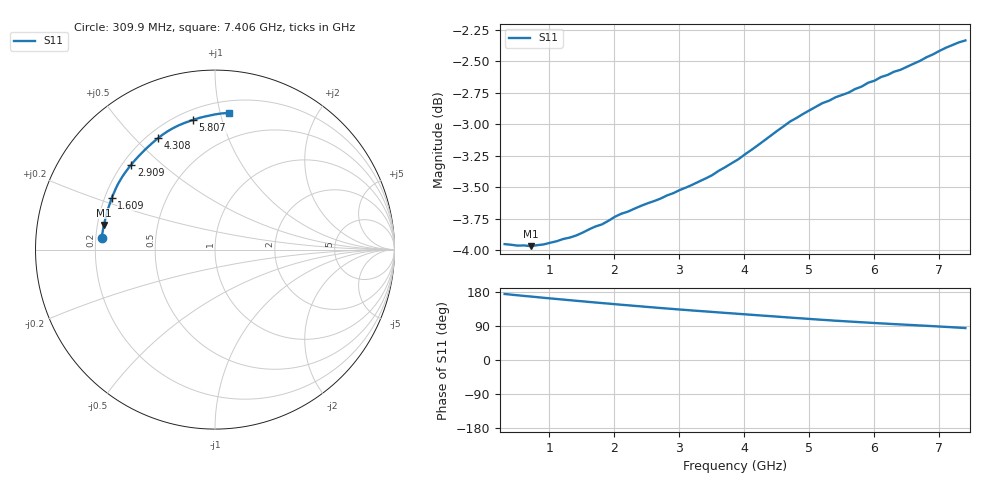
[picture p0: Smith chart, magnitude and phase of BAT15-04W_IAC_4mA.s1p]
! Infineon Technologies  Discrete & RF Semiconductors
! BAT15-04W-E6327
! IAC = 4 mA
! One-Port S-Parameters
# Hz  S  MA  R  50
!f  S11
!Hz  Mag  Ang
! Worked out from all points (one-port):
!   72 points, 309.9 MHz to 7.406 GHz, reference 50 ohm
!   lowest |S11| = -4.0 dB at 709.6 MHz (marker M1), VSWR 4.46, Z = 11.3 + j5.2 ohm
!   |S11| at or under -10 dB: nowhere
!   S11 on the Smith chart (normalised r, x): 309.9 MHz: 0.22, +0.05; 1.609 GHz: 0.23, +0.23; 2.909 GHz: 0.23, +0.40; 4.308 GHz: 0.24, +0.59; 5.807 GHz: 0.26, +0.81; 7.406 GHz: 0.29, +1.06
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3.0985e8  0.6346 174.2
6.097e8  0.6339 169.1
7.0965e8  0.6334 167.5
1.0095e9  0.6354 162.6
1.2094e9  0.6376 159.5
1.6092e9  0.6432 153.3
1.90905e9  0.6483 148.8
2.10895e9  0.6525 145.8
2.50875e9  0.6587 140.0
2.90855e9  0.6649 134.5
3.0085e9  0.6668 133.2
3.4083e9  0.6739 128.1
3.6082e9  0.6786 125.5
3.90805e9  0.6857 121.9
4.30785e9  0.6976 116.9
4.50775e9  0.7038 114.4
4.8076e9  0.7121 110.7
5.2074e9  0.7218 106.0
5.4073e9  0.7257 103.7
5.6072e9  0.7288 101.6
5.70715e9  0.7311 100.7
5.8071e9  0.7327 99.6
6.10695e9  0.7392 96.7
6.6067e9  0.7482 92.0
6.8066e9  0.7527 90.2
7.10645e9  0.7592 87.4
7.30635e9  0.763 85.4
7.4063e9  0.7643 84.3
